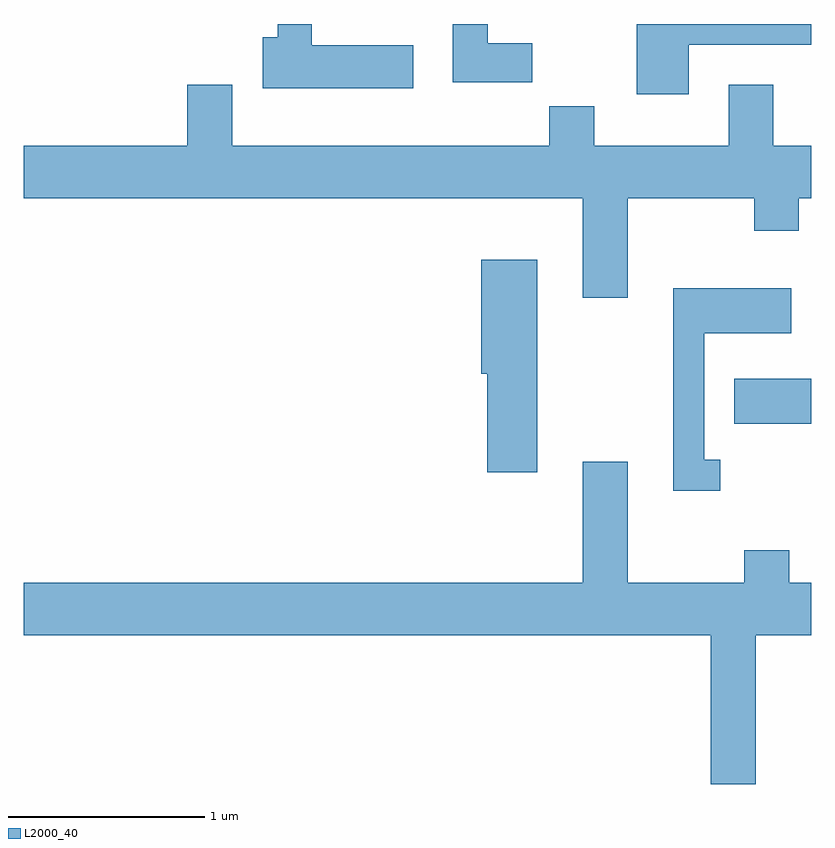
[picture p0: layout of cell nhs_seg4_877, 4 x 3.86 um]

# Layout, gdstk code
import gdstk
lib = gdstk.Library(unit=1e-6, precision=1e-09)
def R(c, l, rs):  # rectangles x0, y0, x1, y1
    for r in rs: c.add(gdstk.rectangle(r[:2], r[2:], *l))
def P(c, l, *ps):  # polygons
    for p in ps: c.add(gdstk.Polygon(p, *l))
L2000_40 = (2000, 40)

nhs_seg4_877 = lib.new_cell('nhs_seg4_877')
R(nhs_seg4_877, L2000_40, [(213.221,1377.951,213.611,1378.179)])
P(nhs_seg4_877, L2000_40, [(211.589,1379.874),(211.074,1379.874),(211.074,1379.982),(210.901,1379.982),(210.901,1379.914),(210.826,1379.914),(210.826,1379.656),(211.589,1379.656)],
  [(212.194,1379.884),(211.969,1379.884),(211.969,1379.982),(211.791,1379.982),(211.791,1379.686),(212.194,1379.686)],
  [(212.989,1379.876),(213.611,1379.876),(213.611,1379.982),(212.726,1379.982),(212.726,1379.626),(212.989,1379.626)],
  [(212.679,1379.096),(213.321,1379.096),(213.321,1378.931),(213.549,1378.931),(213.549,1379.096),(213.611,1379.096),(213.611,1379.364),(213.419,1379.364),(213.419,1379.674),(213.191,1379.674),(213.191,1379.364),(212.509,1379.364),(212.509,1379.564),(212.281,1379.564),(212.281,1379.364),(210.669,1379.364),(210.669,1379.674),(210.441,1379.674),(210.441,1379.364),(209.611,1379.364),(209.611,1379.096),(212.451,1379.096),(212.451,1378.591),(212.679,1378.591)],
  [(212.219,1378.784),(211.936,1378.784),(211.936,1378.206),(211.966,1378.206),(211.966,1377.706),(212.219,1377.706)],
  [(213.148,1377.769),(213.069,1377.769),(213.069,1378.411),(213.509,1378.411),(213.509,1378.639),(212.911,1378.639),(212.911,1377.611),(213.148,1377.611)],
  [(213.329,1376.876),(213.611,1376.876),(213.611,1377.144),(213.499,1377.144),(213.499,1377.309),(213.271,1377.309),(213.271,1377.144),(212.679,1377.144),(212.679,1377.759),(212.451,1377.759),(212.451,1377.144),(209.611,1377.144),(209.611,1376.876),(213.101,1376.876),(213.101,1376.121),(213.329,1376.121)])

lib.write_gds('nhs_seg4_877.gds')
